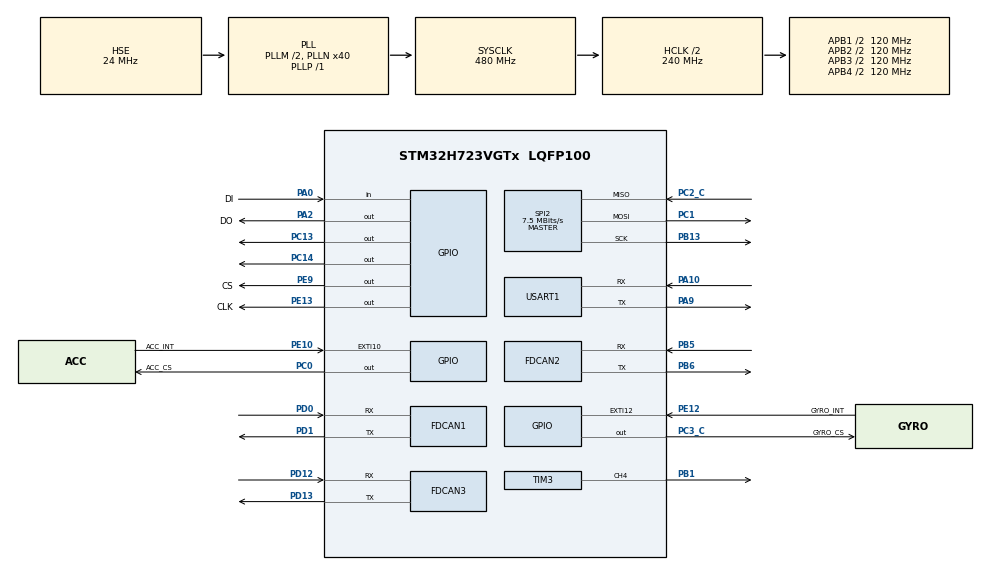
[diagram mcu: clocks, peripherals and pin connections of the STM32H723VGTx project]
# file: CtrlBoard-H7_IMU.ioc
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Dma.Request0=SPI2_RX
Dma.Request1=SPI2_TX
Dma.Request2=USART1_RX
Dma.Request3=USART1_TX
Dma.SPI2_RX.0.Direction=DMA_PERIPH_TO_MEMORY
Dma.SPI2_RX.0.EventEnable=DISABLE
Dma.SPI2_RX.0.FIFOMode=DMA_FIFOMODE_DISABLE
Dma.SPI2_RX.0.Instance=DMA1_Stream0
Dma.SPI2_RX.0.MemDataAlignment=DMA_MDATAALIGN_BYTE
Dma.SPI2_RX.0.MemInc=DMA_MINC_ENABLE
Dma.SPI2_RX.0.Mode=DMA_NORMAL
Dma.SPI2_RX.0.PeriphDataAlignment=DMA_PDATAALIGN_BYTE
Dma.SPI2_RX.0.PeriphInc=DMA_PINC_DISABLE
Dma.SPI2_RX.0.Polarity=HAL_DMAMUX_REQ_GEN_RISING
Dma.SPI2_RX.0.Priority=DMA_PRIORITY_VERY_HIGH
Dma.SPI2_RX.0.RequestNumber=1
Dma.SPI2_RX.0.SignalID=NONE
Dma.SPI2_RX.0.SyncEnable=DISABLE
Dma.SPI2_RX.0.SyncPolarity=HAL_DMAMUX_SYNC_NO_EVENT
Dma.SPI2_RX.0.SyncRequestNumber=1
Dma.SPI2_RX.0.SyncSignalID=NONE
Dma.SPI2_TX.1.Direction=DMA_MEMORY_TO_PERIPH
Dma.SPI2_TX.1.EventEnable=DISABLE
Dma.SPI2_TX.1.FIFOMode=DMA_FIFOMODE_DISABLE
Dma.SPI2_TX.1.Instance=DMA1_Stream1
Dma.SPI2_TX.1.MemDataAlignment=DMA_MDATAALIGN_BYTE
Dma.SPI2_TX.1.MemInc=DMA_MINC_ENABLE
Dma.SPI2_TX.1.Mode=DMA_NORMAL
Dma.SPI2_TX.1.PeriphDataAlignment=DMA_PDATAALIGN_BYTE
Dma.SPI2_TX.1.PeriphInc=DMA_PINC_DISABLE
Dma.SPI2_TX.1.Polarity=HAL_DMAMUX_REQ_GEN_RISING
Dma.SPI2_TX.1.Priority=DMA_PRIORITY_HIGH
Dma.SPI2_TX.1.RequestNumber=1
Dma.SPI2_TX.1.SignalID=NONE
Dma.SPI2_TX.1.SyncEnable=DISABLE
Dma.SPI2_TX.1.SyncPolarity=HAL_DMAMUX_SYNC_NO_EVENT
Dma.SPI2_TX.1.SyncRequestNumber=1
Dma.SPI2_TX.1.SyncSignalID=NONE
Dma.USART1_RX.2.Direction=DMA_PERIPH_TO_MEMORY
Dma.USART1_RX.2.EventEnable=DISABLE
Dma.USART1_RX.2.FIFOMode=DMA_FIFOMODE_DISABLE
Dma.USART1_RX.2.Instance=DMA1_Stream2
Dma.USART1_RX.2.MemDataAlignment=DMA_MDATAALIGN_BYTE
Dma.USART1_RX.2.MemInc=DMA_MINC_ENABLE
Dma.USART1_RX.2.Mode=DMA_CIRCULAR
Dma.USART1_RX.2.PeriphDataAlignment=DMA_PDATAALIGN_BYTE
Dma.USART1_RX.2.PeriphInc=DMA_PINC_DISABLE
Dma.USART1_RX.2.Polarity=HAL_DMAMUX_REQ_GEN_RISING
Dma.USART1_RX.2.Priority=DMA_PRIORITY_LOW
Dma.USART1_RX.2.RequestNumber=1
Dma.USART1_RX.2.SignalID=NONE
Dma.USART1_RX.2.SyncEnable=DISABLE
Dma.USART1_RX.2.SyncPolarity=HAL_DMAMUX_SYNC_NO_EVENT
Dma.USART1_RX.2.SyncRequestNumber=1
Dma.USART1_RX.2.SyncSignalID=NONE
Dma.USART1_TX.3.Direction=DMA_MEMORY_TO_PERIPH
Dma.USART1_TX.3.EventEnable=DISABLE
Dma.USART1_TX.3.FIFOMode=DMA_FIFOMODE_DISABLE
Dma.USART1_TX.3.Instance=DMA1_Stream3
Dma.USART1_TX.3.MemDataAlignment=DMA_MDATAALIGN_BYTE
Dma.USART1_TX.3.MemInc=DMA_MINC_ENABLE
Dma.USART1_TX.3.Mode=DMA_NORMAL
Dma.USART1_TX.3.PeriphDataAlignment=DMA_PDATAALIGN_BYTE
Dma.USART1_TX.3.PeriphInc=DMA_PINC_DISABLE
Dma.USART1_TX.3.Polarity=HAL_DMAMUX_REQ_GEN_RISING
Dma.USART1_TX.3.Priority=DMA_PRIORITY_LOW
Dma.USART1_TX.3.RequestNumber=1
Dma.USART1_TX.3.SignalID=NONE
Dma.USART1_TX.3.SyncEnable=DISABLE
Dma.USART1_TX.3.SyncPolarity=HAL_DMAMUX_SYNC_NO_EVENT
Dma.USART1_TX.3.SyncRequestNumber=1
Dma.USART1_TX.3.SyncSignalID=NONE
FDCAN1.CalculateBaudRateNominal=1000000
FDCAN1.CalculateTimeBitNominal=1000
FDCAN1.CalculateTimeQuantumNominal=40.0
FDCAN1.DataPrescaler=4
FDCAN1.DataTimeSeg1=19
FDCAN1.DataTimeSeg2=5
FDCAN1.ExtFiltersNbr=5
FDCAN1.NominalPrescaler=4
FDCAN1.NominalTimeSeg1=19
FDCAN1.NominalTimeSeg2=5
FDCAN1.RxFifo0ElmtSize=FDCAN_DATA_BYTES_24
FDCAN1.RxFifo0ElmtsNbr=4
FDCAN1.RxFifo1ElmtSize=FDCAN_DATA_BYTES_24
FDCAN1.StdFiltersNbr=5
FDCAN1.TxElmtSize=FDCAN_DATA_BYTES_24
FDCAN1.TxFifoQueueElmtsNbr=8
FDCAN2.CalculateBaudRateNominal=1000000
FDCAN2.CalculateTimeBitNominal=1000
FDCAN2.CalculateTimeQuantumNominal=50.0
FDCAN2.DataPrescaler=5
FDCAN2.DataTimeSeg1=14
FDCAN2.DataTimeSeg2=5
FDCAN2.ExtFiltersNbr=5
FDCAN2.MessageRAMOffset=854
FDCAN2.NominalPrescaler=5
FDCAN2.NominalTimeSeg1=14
FDCAN2.NominalTimeSeg2=5
FDCAN2.RxFifo1ElmtSize=FDCAN_DATA_BYTES_24
FDCAN2.RxFifo1ElmtsNbr=4
FDCAN2.StdFiltersNbr=5
FDCAN2.TxElmtSize=FDCAN_DATA_BYTES_16
FDCAN2.TxFifoQueueElmtsNbr=4
FDCAN3.CalculateBaudRateNominal=1000000
FDCAN3.CalculateTimeBitNominal=1000
FDCAN3.CalculateTimeQuantumNominal=50.0
FDCAN3.DataPrescaler=5
FDCAN3.DataTimeSeg1=14
FDCAN3.DataTimeSeg2=5
FDCAN3.ExtFiltersNbr=5
FDCAN3.MessageRAMOffset=1709
FDCAN3.NominalPrescaler=5
FDCAN3.NominalTimeSeg1=14
FDCAN3.NominalTimeSeg2=5
FDCAN3.RxFifo0ElmtsNbr=2
FDCAN3.StdFiltersNbr=5
FDCAN3.TxFifoQueueElmtsNbr=3
FREERTOS.MEMORY_ALLOCATION=0
FREERTOS.Tasks01=defaultTask,0,128,StartDefaultTask,Default,NULL,Dynamic,NULL,NULL;INS_TASK,3,512,INS_Task,Default,NULL,Dynamic,NULL,NULL;CHASSISR_TASK,1,512,ChassisR_Task,Default,NULL,Dynamic,NULL,NULL;CHASSISL_TASK,1,512,ChassisL_Task,Default,NULL,Dynamic,NULL,NULL;OBSERVE_TASK,2,512,OBSERVE_Task,Default,NULL,Dynamic,NULL,NULL;PS2_TASK,1,128,PS2_Task,Default,NULL,Dynamic,NULL,NULL;MSG_TASK,-3,128,msg_task,Default,NULL,Dynamic,NULL,NULL;ODOM_TASK,-3,128,odom_task,Default,NULL,Dynamic,NULL,NULL
FREERTOS.configENABLE_FPU=1
FREERTOS.configTOTAL_HEAP_SIZE=30720
Mcu.Family=STM32H7
Mcu.Name=STM32H723VGTx
Mcu.Package=LQFP100
NVIC.DMA1_Stream0_IRQn=true\:6\:0\:true\:false\:true\:true\:false\:true\:true
NVIC.DMA1_Stream1_IRQn=true\:6\:0\:true\:false\:true\:true\:false\:true\:true
NVIC.DMA1_Stream2_IRQn=true\:5\:0\:false\:false\:true\:true\:false\:true\:true
NVIC.DMA1_Stream3_IRQn=true\:5\:0\:false\:false\:true\:true\:false\:true\:true
NVIC.FDCAN1_IT0_IRQn=true\:6\:0\:true\:false\:true\:true\:true\:true\:true
NVIC.FDCAN2_IT0_IRQn=true\:5\:0\:true\:false\:true\:true\:true\:true\:true
NVIC.FDCAN3_IT0_IRQn=true\:5\:0\:false\:false\:true\:true\:true\:true\:true
NVIC.PriorityGroup=NVIC_PRIORITYGROUP_4
NVIC.SPI2_IRQn=true\:5\:0\:true\:false\:true\:true\:false\:true\:true
NVIC.TIM2_IRQn=true\:15\:0\:false\:false\:true\:false\:false\:true\:true
NVIC.TimeBase=TIM2_IRQn
NVIC.TimeBaseIP=TIM2
NVIC.USART1_IRQn=true\:5\:0\:false\:false\:true\:true\:true\:true\:true
PA0.GPIO_Label=DI
PA0.GPIO_PuPd=GPIO_PULLUP
PA0.Signal=GPIO_Input
PA10.Mode=Asynchronous
PA10.Signal=USART1_RX
PA13(JTMS/SWDIO).Mode=Serial_Wire
PA13(JTMS/SWDIO).Signal=DEBUG_JTMS-SWDIO
PA14(JTCK/SWCLK).Mode=Serial_Wire
PA14(JTCK/SWCLK).Signal=DEBUG_JTCK-SWCLK
PA2.GPIO_Label=DO
PA2.GPIO_PuPd=GPIO_PULLUP
PA2.GPIO_Speed=GPIO_SPEED_FREQ_VERY_HIGH
PA2.PinState=GPIO_PIN_SET
PA2.Signal=GPIO_Output
PA9.Mode=Asynchronous
PA9.Signal=USART1_TX
PB1.Signal=S_TIM3_CH4
PB13.GPIO_Speed=GPIO_SPEED_FREQ_VERY_HIGH
PB13.Mode=Full_Duplex_Master
PB13.Signal=SPI2_SCK
PB5.Mode=FDCAN_Activate
PB5.Signal=FDCAN2_RX
PB6.Mode=FDCAN_Activate
PB6.Signal=FDCAN2_TX
PC0.GPIO_Label=ACC_CS
PC0.GPIO_Speed=GPIO_SPEED_FREQ_VERY_HIGH
PC0.PinState=GPIO_PIN_SET
PC0.Signal=GPIO_Output
PC1.GPIO_Speed=GPIO_SPEED_FREQ_VERY_HIGH
PC1.Mode=Full_Duplex_Master
PC1.Signal=SPI2_MOSI
PC13.Signal=GPIO_Output
PC14-OSC32_IN.Signal=GPIO_Output
PC2_C.GPIO_Speed=GPIO_SPEED_FREQ_VERY_HIGH
PC2_C.Mode=Full_Duplex_Master
PC2_C.Signal=SPI2_MISO
PC3_C.GPIO_Label=GYRO_CS
PC3_C.GPIO_Speed=GPIO_SPEED_FREQ_VERY_HIGH
PC3_C.PinState=GPIO_PIN_SET
PC3_C.Signal=GPIO_Output
PD0.Mode=FDCAN_Activate
PD0.Signal=FDCAN1_RX
PD1.Mode=FDCAN_Activate
PD1.Signal=FDCAN1_TX
PD12.Mode=FDCAN_Activate
PD12.Signal=FDCAN3_RX
PD13.Mode=FDCAN_Activate
PD13.Signal=FDCAN3_TX
PE10.GPIO_Label=ACC_INT
PE10.Signal=GPXTI10
PE12.GPIO_Label=GYRO_INT
PE12.Signal=GPXTI12
PE13.GPIO_Label=CLK
PE13.GPIO_PuPd=GPIO_PULLUP
PE13.GPIO_Speed=GPIO_SPEED_FREQ_VERY_HIGH
PE13.PinState=GPIO_PIN_SET
PE13.Signal=GPIO_Output
PE9.GPIO_Label=CS
PE9.GPIO_PuPd=GPIO_PULLUP
PE9.GPIO_Speed=GPIO_SPEED_FREQ_VERY_HIGH
PE9.PinState=GPIO_PIN_SET
PE9.Signal=GPIO_Output
PH0-OSC_IN.Mode=HSE-External-Oscillator
PH0-OSC_IN.Signal=RCC_OSC_IN
PH1-OSC_OUT.Mode=HSE-External-Oscillator
PH1-OSC_OUT.Signal=RCC_OSC_OUT
ProjectManager.HeapSize=0x200
ProjectManager.StackSize=0x800
ProjectManager.TargetToolchain=MDK-ARM V5.27
RCC.ADCFreq_Value=100000000
RCC.APB1Freq_Value=120000000
RCC.APB2Freq_Value=120000000
RCC.APB3Freq_Value=120000000
RCC.APB4Freq_Value=120000000
RCC.CortexFreq_Value=480000000
RCC.D1PPRE=RCC_APB3_DIV2
RCC.D2PPRE1=RCC_APB1_DIV2
RCC.D2PPRE2=RCC_APB2_DIV2
RCC.D3PPRE=RCC_APB4_DIV2
RCC.DIVM1=2
RCC.DIVM2=24
RCC.DIVN1=40
RCC.DIVN2=200
RCC.DIVP1=1
RCC.FDCANCLockSelection=RCC_FDCANCLKSOURCE_PLL2
RCC.HCLKFreq_Value=240000000
RCC.HPRE=RCC_HCLK_DIV2
RCC.HSE_VALUE=24000000
RCC.PLL2FRACN=0
RCC.PLL3FRACN=0
RCC.PLLFRACN=0
RCC.PLLSourceVirtual=RCC_PLLSOURCE_HSE
RCC.SYSCLKFreq_VALUE=480000000
RCC.SYSCLKSource=RCC_SYSCLKSOURCE_PLLCLK
RCC.USBFreq_Value=240000000
SH.S_TIM3_CH4.0=TIM3_CH4,PWM Generation4 CH4
SPI2.BaudRatePrescaler=SPI_BAUDRATEPRESCALER_32
SPI2.CLKPhase=SPI_PHASE_2EDGE
SPI2.CLKPolarity=SPI_POLARITY_HIGH
SPI2.CalculateBaudRate=7.5 MBits/s
SPI2.DataSize=SPI_DATASIZE_8BIT
SPI2.Direction=SPI_DIRECTION_2LINES
SPI2.Mode=SPI_MODE_MASTER
SPI2.VirtualType=VM_MASTER
TIM3.AutoReloadPreload=TIM_AUTORELOAD_PRELOAD_ENABLE
TIM3.Channel-PWM\ Generation4\ CH4=TIM_CHANNEL_4
TIM3.Period=10000-1
TIM3.Prescaler=24-1
USART1.VirtualMode-Asynchronous=VM_ASYNC
VP_FREERTOS_VS_CMSIS_V1.Mode=CMSIS_V1
VP_SYS_VS_tim2.Mode=TIM2
board=custom

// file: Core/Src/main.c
/* USER CODE BEGIN Header */
/**
  ******************************************************************************
  * @file           : main.c
  * @brief          : Main program body
  ******************************************************************************
  * @attention
  *
  * Copyright (c) 2024 STMicroelectronics.
  * All rights reserved.
  *
  * This software is licensed under terms that can be found in the LICENSE file
  * in the root directory of this software component.
  * If no LICENSE file comes with this software, it is provided AS-IS.
  *
  ******************************************************************************
  */
/* USER CODE END Header */
#include "main.h"
#include "cmsis_os.h"
#include "dma.h"
#include "fdcan.h"
#include "spi.h"
#include "tim.h"
#include "usart.h"
#include "gpio.h"

/* USER CODE BEGIN Includes */
#include "BMI088driver.h"
#include "kalman_filter.h"
#include "mahony_filter.h"
#include "bsp_dwt.h"
#include "BMI088Middleware.h"
#include "can_bsp.h"
#include "ros_common.h"
/* USER CODE END Includes */

/* USER CODE BEGIN PV */
#define UART_RX_BUFFER_SIZE 200
uint8_t UART_RxBuffer[UART_RX_BUFFER_SIZE];

/* USER CODE END PV */

void SystemClock_Config(void);
void PeriphCommonClock_Config(void);
void MX_FREERTOS_Init(void);

/* USER CODE BEGIN 0 */
void HAL_UART_IDLECallback(UART_HandleTypeDef *huart)
{
    if(huart->Instance == USART1)
    {
        // �����ȶ� ISR/RDR ������� IDLE ��־��H7 �ܹ�Ҫ��
        volatile uint32_t tmpreg;
        tmpreg = huart->Instance->ISR;
        tmpreg = huart->Instance->RDR;
        __HAL_UART_CLEAR_IDLEFLAG(huart);

        // ֹͣ DMA�������޷���������
        HAL_UART_DMAStop(huart);

        uint16_t recv_len = UART_RX_BUFFER_SIZE - __HAL_DMA_GET_COUNTER(huart->hdmarx);

        for(uint16_t i = 0; i < recv_len; i++)
        {
            ParseByte(UART_RxBuffer[i]);
        }

        //  ������ֹͣ���������� DMA���������һ�ξ���
        HAL_UART_Receive_DMA(huart, UART_RxBuffer, UART_RX_BUFFER_SIZE);
    }
}

/* USER CODE END 0 */

int main(void)
{

  /* MCU Configuration--------------------------------------------------------*/

  /* Reset of all peripherals, Initializes the Flash interface and the Systick. */
      HAL_Init();

  /* USER CODE BEGIN Init */
//06 01 00 00 00 00 00 00 00 00 00 00 00 00 80 3F
  /* USER CODE END Init */

  /* Configure the system clock */
  SystemClock_Config();

/* Configure the peripherals common clocks */
  PeriphCommonClock_Config();

  /* Initialize all configured peripherals */
  MX_GPIO_Init();
  MX_DMA_Init();
  MX_SPI2_Init();
  MX_FDCAN1_Init();
  MX_FDCAN2_Init();
  MX_TIM3_Init();
  MX_FDCAN3_Init();
  MX_USART1_UART_Init();
  /* USER CODE BEGIN 2 */
	__HAL_UART_ENABLE_IT(&huart1, UART_IT_IDLE);
	DWT_Init(480);

    /* BMI088 */
  while (BMI088_init(&hspi2, 0) != BMI088_NO_ERROR)
	{
	  ;
	}
	Power_OUT1_ON;//imu
	Power_OUT2_ON;

  FDCAN1_Config();//can
	FDCAN2_Config();
	HAL_UART_Receive_DMA(&huart1, UART_RxBuffer, UART_RX_BUFFER_SIZE);
  /* USER CODE END 2 */

  /* Call init function for freertos objects (in freertos.c) */
  MX_FREERTOS_Init();

  /* Start scheduler */
  osKernelStart();

  /* We should never get here as control is now taken by the scheduler */
  /* Infinite loop */
  while (1)
  {

  }
}

void SystemClock_Config(void)
{
  RCC_OscInitTypeDef RCC_OscInitStruct = {0};
  RCC_ClkInitTypeDef RCC_ClkInitStruct = {0};

  /** Supply configuration update enable
  */
  HAL_PWREx_ConfigSupply(PWR_LDO_SUPPLY);

  /** Configure the main internal regulator output voltage
  */
  __HAL_PWR_VOLTAGESCALING_CONFIG(PWR_REGULATOR_VOLTAGE_SCALE0);

  while(!__HAL_PWR_GET_FLAG(PWR_FLAG_VOSRDY)) {}

  /** Initializes the RCC Oscillators according to the specified parameters
  * in the RCC_OscInitTypeDef structure.
  */
  RCC_OscInitStruct.OscillatorType = RCC_OSCILLATORTYPE_HSE;
  RCC_OscInitStruct.HSEState = RCC_HSE_ON;
  RCC_OscInitStruct.PLL.PLLState = RCC_PLL_ON;
  RCC_OscInitStruct.PLL.PLLSource = RCC_PLLSOURCE_HSE;
  RCC_OscInitStruct.PLL.PLLM = 2;
  RCC_OscInitStruct.PLL.PLLN = 40;
  RCC_OscInitStruct.PLL.PLLP = 1;
  RCC_OscInitStruct.PLL.PLLQ = 2;
  RCC_OscInitStruct.PLL.PLLR = 2;
  RCC_OscInitStruct.PLL.PLLRGE = RCC_PLL1VCIRANGE_3;
  RCC_OscInitStruct.PLL.PLLVCOSEL = RCC_PLL1VCOWIDE;
  RCC_OscInitStruct.PLL.PLLFRACN = 0;
  if (HAL_RCC_OscConfig(&RCC_OscInitStruct) != HAL_OK)
  {
    Error_Handler();
  }

  /** Initializes the CPU, AHB and APB buses clocks
  */
  RCC_ClkInitStruct.ClockType = RCC_CLOCKTYPE_HCLK|RCC_CLOCKTYPE_SYSCLK
                              |RCC_CLOCKTYPE_PCLK1|RCC_CLOCKTYPE_PCLK2
                              |RCC_CLOCKTYPE_D3PCLK1|RCC_CLOCKTYPE_D1PCLK1;
  RCC_ClkInitStruct.SYSCLKSource = RCC_SYSCLKSOURCE_PLLCLK;
  RCC_ClkInitStruct.SYSCLKDivider = RCC_SYSCLK_DIV1;
  RCC_ClkInitStruct.AHBCLKDivider = RCC_HCLK_DIV2;
  RCC_ClkInitStruct.APB3CLKDivider = RCC_APB3_DIV2;
  RCC_ClkInitStruct.APB1CLKDivider = RCC_APB1_DIV2;
  RCC_ClkInitStruct.APB2CLKDivider = RCC_APB2_DIV2;
  RCC_ClkInitStruct.APB4CLKDivider = RCC_APB4_DIV2;

  if (HAL_RCC_ClockConfig(&RCC_ClkInitStruct, FLASH_LATENCY_3) != HAL_OK)
  {
    Error_Handler();
  }
}

void PeriphCommonClock_Config(void)
{
  RCC_PeriphCLKInitTypeDef PeriphClkInitStruct = {0};

  /** Initializes the peripherals clock
  */
  PeriphClkInitStruct.PeriphClockSelection = RCC_PERIPHCLK_FDCAN;
  PeriphClkInitStruct.PLL2.PLL2M = 24;
  PeriphClkInitStruct.PLL2.PLL2N = 200;
  PeriphClkInitStruct.PLL2.PLL2P = 2;
  PeriphClkInitStruct.PLL2.PLL2Q = 2;
  PeriphClkInitStruct.PLL2.PLL2R = 2;
  PeriphClkInitStruct.PLL2.PLL2RGE = RCC_PLL2VCIRANGE_0;
  PeriphClkInitStruct.PLL2.PLL2VCOSEL = RCC_PLL2VCOMEDIUM;
  PeriphClkInitStruct.PLL2.PLL2FRACN = 0;
  PeriphClkInitStruct.FdcanClockSelection = RCC_FDCANCLKSOURCE_PLL2;
  if (HAL_RCCEx_PeriphCLKConfig(&PeriphClkInitStruct) != HAL_OK)
  {
    Error_Handler();
  }
}

void HAL_TIM_PeriodElapsedCallback(TIM_HandleTypeDef *htim)
{
  if (htim->Instance == TIM2) {
    HAL_IncTick();
  }
}

void Error_Handler(void)
{
  __disable_irq();
  while (1)
  {
  }
}

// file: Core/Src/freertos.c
/* USER CODE BEGIN Header */
/**
  ******************************************************************************
  * File Name          : freertos.c
  * Description        : Code for freertos applications
  ******************************************************************************
  * @attention
  *
  * Copyright (c) 2024 STMicroelectronics.
  * All rights reserved.
  *
  * This software is licensed under terms that can be found in the LICENSE file
  * in the root directory of this software component.
  * If no LICENSE file comes with this software, it is provided AS-IS.
  *
  ******************************************************************************
  */
/* USER CODE END Header */

#include "FreeRTOS.h"
#include "task.h"
#include "main.h"
#include "cmsis_os.h"

/* USER CODE BEGIN Includes */
#include "INS_task.h"
#include "chassisR_task.h"
#include "chassisL_task.h"
#include "observe_task.h"
#include "ps2_task.h"
#include "ros_common.h"
/* USER CODE END Includes */

/* USER CODE BEGIN PD */
// ������
extern osMutexId odom_mutex;
/* USER CODE END PD */

osThreadId defaultTaskHandle;
osThreadId INS_TASKHandle;
osThreadId CHASSISR_TASKHandle;
osThreadId CHASSISL_TASKHandle;
osThreadId OBSERVE_TASKHandle;
osThreadId PS2_TASKHandle;
osThreadId MSG_TASKHandle;
osThreadId ODOM_TASKHandle;

void StartDefaultTask(void const * argument);
void INS_Task(void const * argument);
void ChassisR_Task(void const * argument);
void ChassisL_Task(void const * argument);
void OBSERVE_Task(void const * argument);
void PS2_Task(void const * argument);
void msg_task(void const * argument);
void odom_task(void const * argument);

void MX_FREERTOS_Init(void); /* (MISRA C 2004 rule 8.1) */

void MX_FREERTOS_Init(void) {

  /* USER CODE BEGIN RTOS_MUTEX */
	odom_mutex = osMutexCreate(NULL);
  /* add mutexes, ... */
  /* USER CODE END RTOS_MUTEX */

  /* Create the thread(s) */
  /* definition and creation of defaultTask */
  osThreadDef(defaultTask, StartDefaultTask, osPriorityNormal, 0, 128);
  defaultTaskHandle = osThreadCreate(osThread(defaultTask), NULL);

  /* definition and creation of INS_TASK */
  osThreadDef(INS_TASK, INS_Task, osPriorityRealtime, 0, 512);
  INS_TASKHandle = osThreadCreate(osThread(INS_TASK), NULL);

  /* definition and creation of CHASSISR_TASK */
  osThreadDef(CHASSISR_TASK, ChassisR_Task, osPriorityAboveNormal, 0, 512);
  CHASSISR_TASKHandle = osThreadCreate(osThread(CHASSISR_TASK), NULL);

  /* definition and creation of CHASSISL_TASK */
  osThreadDef(CHASSISL_TASK, ChassisL_Task, osPriorityAboveNormal, 0, 512);
  CHASSISL_TASKHandle = osThreadCreate(osThread(CHASSISL_TASK), NULL);

  /* definition and creation of OBSERVE_TASK */
  osThreadDef(OBSERVE_TASK, OBSERVE_Task, osPriorityHigh, 0, 512);
  OBSERVE_TASKHandle = osThreadCreate(osThread(OBSERVE_TASK), NULL);

  /* definition and creation of PS2_TASK */
  osThreadDef(PS2_TASK, PS2_Task, osPriorityAboveNormal, 0, 128);
  PS2_TASKHandle = osThreadCreate(osThread(PS2_TASK), NULL);

  /* definition and creation of MSG_TASK */
  osThreadDef(MSG_TASK, msg_task, osPriorityIdle, 0, 128);
  MSG_TASKHandle = osThreadCreate(osThread(MSG_TASK), NULL);

  /* definition and creation of ODOM_TASK */
  osThreadDef(ODOM_TASK, odom_task, osPriorityIdle, 0, 128);
  ODOM_TASKHandle = osThreadCreate(osThread(ODOM_TASK), NULL);

}

void StartDefaultTask(void const * argument)
{
  for(;;)
  {
    osDelay(1);
  }
}

void INS_Task(void const * argument)
{
  /* USER CODE BEGIN INS_Task */

  /* Infinite loop */
  for(;;)
  {
    INS_task();
  }
  /* USER CODE END INS_Task */
}

void ChassisR_Task(void const * argument)
{
  /* USER CODE BEGIN ChassisR_Task */
  /* Infinite loop */
  for(;;)
  {
    ChassisR_task();
  }
  /* USER CODE END ChassisR_Task */
}

void ChassisL_Task(void const * argument)
{
  /* USER CODE BEGIN ChassisL_Task */
  /* Infinite loop */
  for(;;)
  {
    ChassisL_task();
  }
  /* USER CODE END ChassisL_Task */
}

void OBSERVE_Task(void const * argument)
{
  /* USER CODE BEGIN OBSERVE_Task */
  /* Infinite loop */
  for(;;)
  {
    Observe_task();
  }
  /* USER CODE END OBSERVE_Task */
}

void PS2_Task(void const * argument)
{
  /* USER CODE BEGIN PS2_Task */
  /* Infinite loop */
  for(;;)
  {
    pstwo_task();
  }
  /* USER CODE END PS2_Task */
}

void msg_task(void const * argument)
{
  /* USER CODE BEGIN msg_task */
  /* Infinite loop */
  for(;;)
  {
		odom_msg_task();
  }
  /* USER CODE END msg_task */
}

void odom_task(void const * argument)
{
  /* USER CODE BEGIN odom_task */
  /* Infinite loop */
  for(;;)
  {
    odom_update_task();
  }
  /* USER CODE END odom_task */
}
